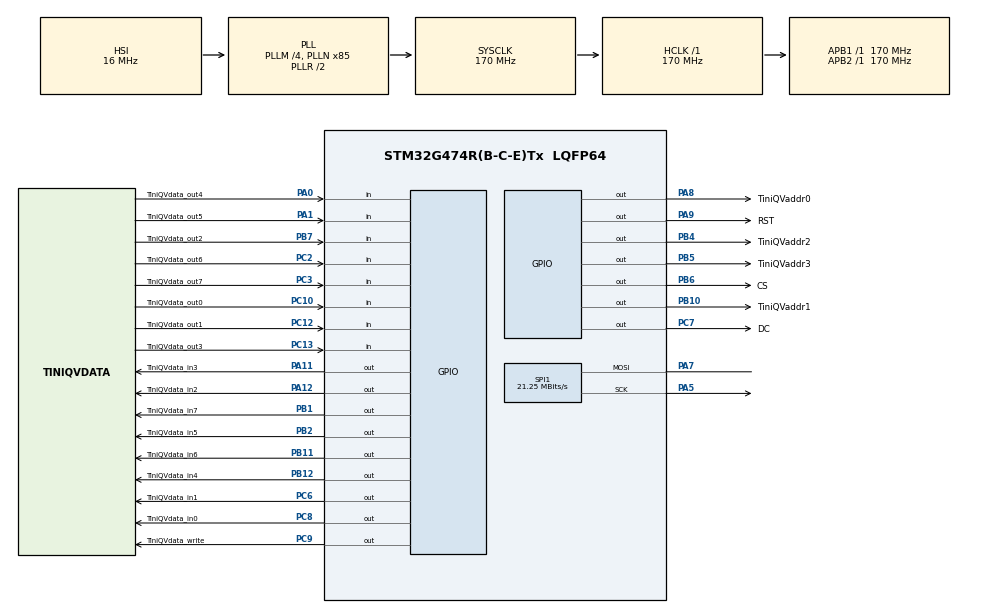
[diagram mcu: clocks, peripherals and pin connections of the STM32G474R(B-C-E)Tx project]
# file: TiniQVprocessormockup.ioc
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Mcu.Family=STM32G4
Mcu.Name=STM32G474R(B-C-E)Tx
Mcu.Package=LQFP64
NVIC.PriorityGroup=NVIC_PRIORITYGROUP_4
PA0.GPIO_Label=TiniQVdata_out4
PA0.Signal=GPIO_Input
PA1.GPIO_Label=TiniQVdata_out5
PA1.Signal=GPIO_Input
PA11.GPIO_Label=TiniQVdata_in3
PA11.Signal=GPIO_Output
PA12.GPIO_Label=TiniQVdata_in2
PA12.Signal=GPIO_Output
PA13.Mode=Serial_Wire
PA13.Signal=SYS_JTMS-SWDIO
PA14.Mode=Serial_Wire
PA14.Signal=SYS_JTCK-SWCLK
PA5.Mode=Simplex_Bidirectional_Master
PA5.Signal=SPI1_SCK
PA7.Mode=Simplex_Bidirectional_Master
PA7.Signal=SPI1_MOSI
PA8.GPIO_Label=TiniQVaddr0
PA8.Signal=GPIO_Output
PA9.GPIO_Label=RST
PA9.Signal=GPIO_Output
PB1.GPIO_Label=TiniQVdata_in7
PB1.Signal=GPIO_Output
PB10.GPIO_Label=TiniQVaddr1
PB10.Signal=GPIO_Output
PB11.GPIO_Label=TiniQVdata_in6
PB11.Signal=GPIO_Output
PB12.GPIO_Label=TiniQVdata_in4
PB12.Signal=GPIO_Output
PB2.GPIO_Label=TiniQVdata_in5
PB2.Signal=GPIO_Output
PB4.GPIO_Label=TiniQVaddr2
PB4.Signal=GPIO_Output
PB5.GPIO_Label=TiniQVaddr3
PB5.Signal=GPIO_Output
PB6.GPIO_Label=CS
PB6.Signal=GPIO_Output
PB7.GPIO_Label=TiniQVdata_out2
PB7.Signal=GPIO_Input
PC10.GPIO_Label=TiniQVdata_out0
PC10.Signal=GPIO_Input
PC12.GPIO_Label=TiniQVdata_out1
PC12.Signal=GPIO_Input
PC13.GPIO_Label=TiniQVdata_out3
PC13.Signal=GPIO_Input
PC2.GPIO_Label=TiniQVdata_out6
PC2.Signal=GPIO_Input
PC3.GPIO_Label=TiniQVdata_out7
PC3.Signal=GPIO_Input
PC6.GPIO_Label=TiniQVdata_in1
PC6.Signal=GPIO_Output
PC7.GPIO_Label=DC
PC7.Signal=GPIO_Output
PC8.GPIO_Label=TiniQVdata_in0
PC8.Signal=GPIO_Output
PC9.GPIO_Label=TiniQVdata_write
PC9.Signal=GPIO_Output
PF0-OSC_IN.Mode=HSE-External-Oscillator
PF0-OSC_IN.Signal=RCC_OSC_IN
PF1-OSC_OUT.Mode=HSE-External-Oscillator
PF1-OSC_OUT.Signal=RCC_OSC_OUT
ProjectManager.HeapSize=0x200
ProjectManager.StackSize=0x400
ProjectManager.TargetToolchain=STM32CubeIDE
RCC.ADC12Freq_Value=170000000
RCC.ADC345Freq_Value=170000000
RCC.AHBFreq_Value=170000000
RCC.APB1Freq_Value=170000000
RCC.APB1TimFreq_Value=170000000
RCC.APB2Freq_Value=170000000
RCC.APB2TimFreq_Value=170000000
RCC.CortexFreq_Value=170000000
RCC.EXTERNAL_CLOCK_VALUE=12288000
RCC.HCLKFreq_Value=170000000
RCC.HSE_VALUE=24000000
RCC.HSI48_VALUE=48000000
RCC.HSI_VALUE=16000000
RCC.LSE_VALUE=32768
RCC.PLLM=RCC_PLLM_DIV4
RCC.PLLN=85
RCC.SYSCLKFreq_VALUE=170000000
RCC.SYSCLKSource=RCC_SYSCLKSOURCE_PLLCLK
RCC.USBFreq_Value=170000000
RCC.VCOOutputFreq_Value=340000000
SPI1.BaudRatePrescaler=SPI_BAUDRATEPRESCALER_8
SPI1.CalculateBaudRate=21.25 MBits/s
SPI1.DataSize=SPI_DATASIZE_8BIT
SPI1.Direction=SPI_DIRECTION_1LINE
SPI1.Mode=SPI_MODE_MASTER
SPI1.VirtualType=VM_MASTER
VP_SYS_VS_DBSignals.Mode=DisableDeadBatterySignals
board=custom

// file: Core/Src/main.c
/* USER CODE BEGIN Header */
/**
  ******************************************************************************
  * @file           : main.c
  * @brief          : Main program body
  ******************************************************************************
  * @attention
  *
  * Copyright (c) 2025 STMicroelectronics.
  * All rights reserved.
  *
  * This software is licensed under terms that can be found in the LICENSE file
  * in the root directory of this software component.
  * If no LICENSE file comes with this software, it is provided AS-IS.
  *
  ******************************************************************************
  */
/* USER CODE END Header */
#include "main.h"
#include "spi.h"
#include "gpio.h"

/* USER CODE BEGIN Includes */
#include "TinyQVmockup.h"

#include "ST7735.h"
#include "GFX_FUNCTIONS.h"
/* USER CODE END Includes */

/* USER CODE BEGIN PD */
uint16_t frombytestocolor565(uint8_t r, uint8_t g, uint8_t b) {
    return ((r & 0xF8) << 8) |    // Top 5 bits of red
           ((g & 0xFC) << 3) |    // Top 6 bits of green
           ((b & 0xF8) >> 3);     // Top 5 bits of blue
}
/* USER CODE END PD */

/* USER CODE BEGIN PV */
  uint8_t red=0,green=0,blue=0;
/* USER CODE END PV */

void SystemClock_Config(void);

int main(void)
{

  /* MCU Configuration--------------------------------------------------------*/

  /* Reset of all peripherals, Initializes the Flash interface and the Systick. */
  HAL_Init();

  /* Configure the system clock */
  SystemClock_Config();

  /* Initialize all configured peripherals */
  MX_GPIO_Init();
  MX_SPI1_Init();
  /* USER CODE BEGIN 2 */
  ST7735_Init(0);
  paintImage(image);
  HAL_Delay(2000);
  fillScreen(BLACK);
  ST7735_WriteString(0, 0, " I AM A LED :)", Font_16x26, WHITE, BLACK);
  ST7735_FillRectangle((128/2)-25, (160/2)-25, 50, 50, WHITE);

  /* USER CODE END 2 */

  /* Infinite loop */
  /* USER CODE BEGIN WHILE */
  while (1)
  {
	if(readRegisterFromPheripheral(REG_RGB_READY)==RGB_READY){
		red		=readRegisterFromPheripheral(REG_R);
		green	=readRegisterFromPheripheral(REG_G);
		blue	=readRegisterFromPheripheral(REG_B);
		writeRegisterToPheripheral(REG_RGB_CLEAR, RGB_CLEAR_CMD);
		ST7735_FillRectangle((128/2)-20, (160/2)-20, 40, 40, frombytestocolor565(red, green, blue));
	}
    /* USER CODE END WHILE */

  }
}

void SystemClock_Config(void)
{
  RCC_OscInitTypeDef RCC_OscInitStruct = {0};
  RCC_ClkInitTypeDef RCC_ClkInitStruct = {0};

  /** Configure the main internal regulator output voltage
  */
  HAL_PWREx_ControlVoltageScaling(PWR_REGULATOR_VOLTAGE_SCALE1_BOOST);

  /** Initializes the RCC Oscillators according to the specified parameters
  * in the RCC_OscInitTypeDef structure.
  */
  RCC_OscInitStruct.OscillatorType = RCC_OSCILLATORTYPE_HSI;
  RCC_OscInitStruct.HSIState = RCC_HSI_ON;
  RCC_OscInitStruct.HSICalibrationValue = RCC_HSICALIBRATION_DEFAULT;
  RCC_OscInitStruct.PLL.PLLState = RCC_PLL_ON;
  RCC_OscInitStruct.PLL.PLLSource = RCC_PLLSOURCE_HSI;
  RCC_OscInitStruct.PLL.PLLM = RCC_PLLM_DIV4;
  RCC_OscInitStruct.PLL.PLLN = 85;
  RCC_OscInitStruct.PLL.PLLP = RCC_PLLP_DIV2;
  RCC_OscInitStruct.PLL.PLLQ = RCC_PLLQ_DIV2;
  RCC_OscInitStruct.PLL.PLLR = RCC_PLLR_DIV2;
  if (HAL_RCC_OscConfig(&RCC_OscInitStruct) != HAL_OK)
  {
    Error_Handler();
  }

  /** Initializes the CPU, AHB and APB buses clocks
  */
  RCC_ClkInitStruct.ClockType = RCC_CLOCKTYPE_HCLK|RCC_CLOCKTYPE_SYSCLK
                              |RCC_CLOCKTYPE_PCLK1|RCC_CLOCKTYPE_PCLK2;
  RCC_ClkInitStruct.SYSCLKSource = RCC_SYSCLKSOURCE_PLLCLK;
  RCC_ClkInitStruct.AHBCLKDivider = RCC_SYSCLK_DIV1;
  RCC_ClkInitStruct.APB1CLKDivider = RCC_HCLK_DIV1;
  RCC_ClkInitStruct.APB2CLKDivider = RCC_HCLK_DIV1;

  if (HAL_RCC_ClockConfig(&RCC_ClkInitStruct, FLASH_LATENCY_4) != HAL_OK)
  {
    Error_Handler();
  }
}

void Error_Handler(void)
{
  __disable_irq();
  while (1)
  {
  }
}
